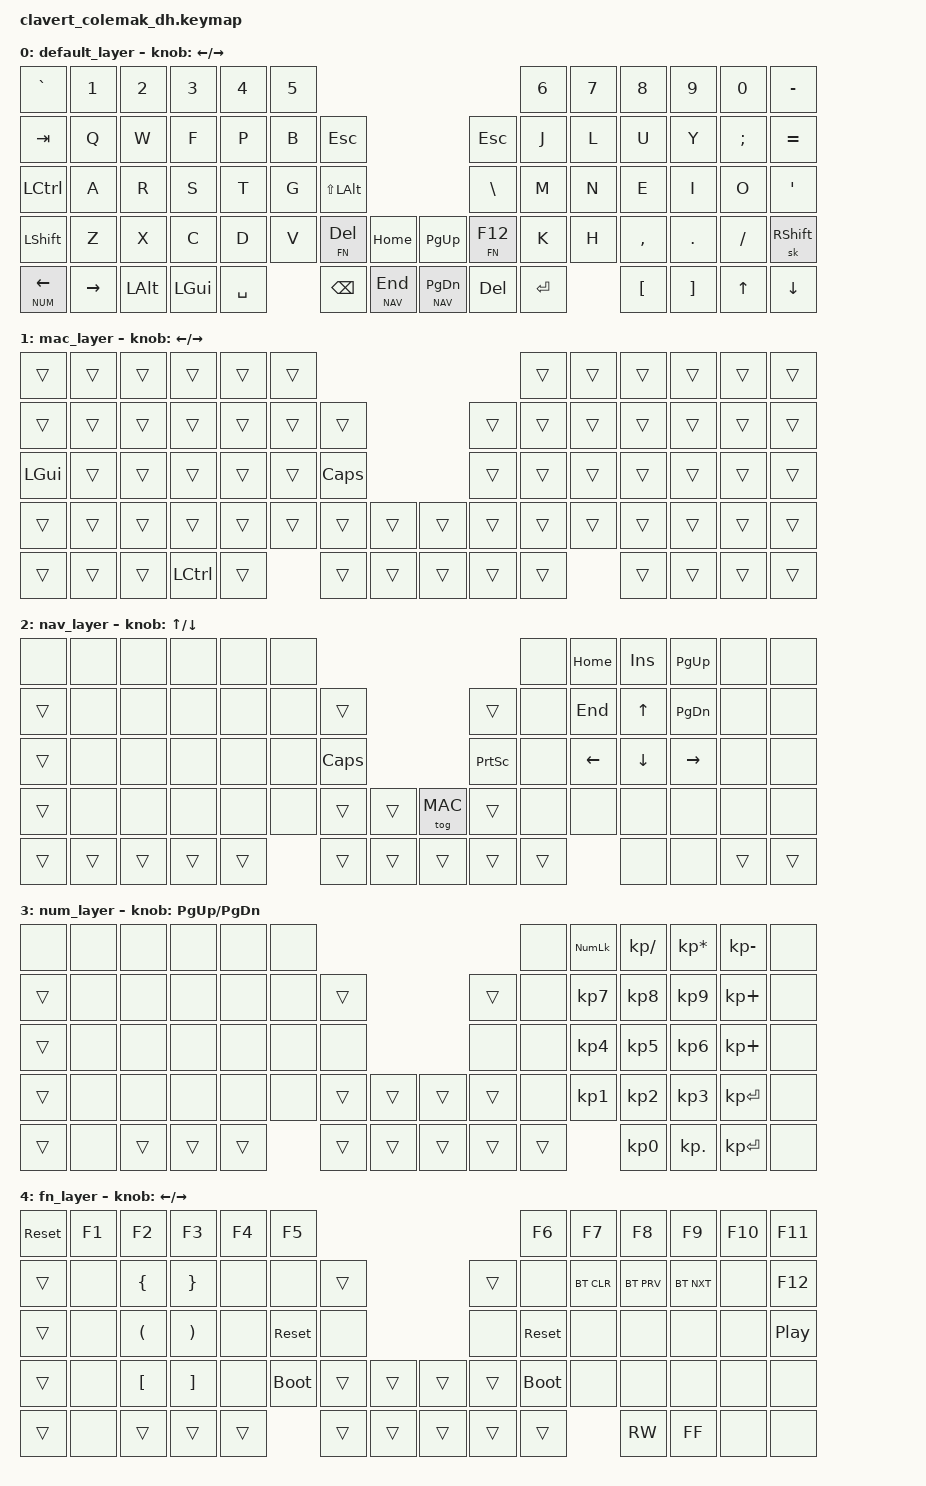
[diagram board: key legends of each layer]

  /*
  * Copyright (c) 2020 The ZMK Contributors
  *
  * SPDX-License-Identifier: MIT
  */

  #include <behaviors.dtsi>
  #include <dt-bindings/zmk/keys.h>
  #include <dt-bindings/zmk/bt.h>
  #include <dt-bindings/zmk/ext_power.h>
  #include "clavert_colemak_dh.dtsi"

  #define DEFAULT 0
  #define MAC 1
  #define NAV 2
  #define NUM 3
  #define FN 4

  &sk {
    release-after-ms = <2000>;
    quick-release;
    /delete-property/ ignore-modifiers;
  };

  / {
    keymap {
      compatible = "zmk,keymap";
        default_layer {
// -----------------------------------------------------------------------------------------------------------------------------------------
// | GRAVE      | 1     | 2    | 3    | 4   | 5   |                                                  | 6   | 7   | 8   | 9   | 0   | -     |
// | TAB        | Q     | W    | F    | P   | B   | ESC      |                            | ESC      | J   | L   | U   | Y   | ;   | =     |
// | LCTRL      | A     | R    | S    | T   | G   | LS(LALT) |                            | \        | M   | N   | E   | I   | O   | '     |
// | LSHFT      | Z     | X    | C    | D   | V   | LtFN DEL | HOME      |  | PG_UP       | LtFN F12 | K   | H   | ,   | .   | /   | RSHFT |
// | LtNUM LEFT | RIGHT | LALT | LGUI | SPACE     | BSPC     | LtNAV END |  | LtNAV PG_DN | DEL      | ENTER     | [   | ]   | UP  | DOWN  |
          bindings = <
    &kp GRAVE    &kp N1    &kp N2    &kp N3    &kp N4    &kp N5                                                      &kp N6   &kp N7 &kp N8    &kp N9   &kp N0   &kp MINUS
    &kp TAB      &kp Q     &kp W     &kp F     &kp P     &kp B  &kp ESC                                   &kp ESC    &kp J    &kp L  &kp U     &kp Y    &kp SEMI &kp EQUAL
    &kp LCTRL    &kp A     &kp R     &kp S     &kp T     &kp G  &kp LS(LALT)                              &kp BSLH   &kp M    &kp N  &kp E     &kp I    &kp O    &kp SQT
    &kp LSHFT    &kp Z     &kp X     &kp C     &kp D     &kp V  &lt FN DEL   &kp HOME       &kp PG_UP     &lt FN F12 &kp K    &kp H  &kp COMMA &kp DOT  &kp FSLH &sk RSHFT
    &lt NUM LEFT &kp RIGHT &kp LALT  &kp LGUI  &kp SPACE        &kp BSPC     &lt NAV END    &lt NAV PG_DN &kp DEL    &kp ENTER       &kp LBKT  &kp RBKT &kp UP   &kp DOWN
          >;

          sensor-bindings = <&inc_dec_kp LEFT RIGHT>;
        };

        mac_layer {
// ------------------------------------------------------------------------------------------------------------------------------------
// | trans | trans | trans | trans | trans | trans |                                  | trans | trans | trans | trans | trans | trans |
// | trans | trans | trans | trans | trans | trans | trans |                  | trans | trans | trans | trans | trans | trans | trans |
// | LGUI  | trans | trans | trans | trans | trans | CAPS  |                  | trans | trans | trans | trans | trans | trans | trans |
// | trans | trans | trans | trans | trans | trans | trans | trans |  | trans | trans | trans | trans | trans | trans | trans | trans |
// | trans | trans | trans | LCTRL | trans         | trans | trans |  | trans | trans | trans         | trans | trans | trans | trans |
          bindings = <
    &trans   &trans &trans &trans    &trans &trans                                  &trans &trans &trans &trans &trans &trans
    &trans   &trans &trans &trans    &trans &trans &trans                    &trans &trans &trans &trans &trans &trans &trans
    &kp LGUI &trans &trans &trans    &trans &trans &kp CAPS                  &trans &trans &trans &trans &trans &trans &trans
    &trans   &trans &trans &trans    &trans &trans &trans   &trans    &trans &trans &trans &trans &trans &trans &trans &trans
    &trans   &trans &trans &kp LCTRL &trans        &trans   &trans    &trans &trans &trans        &trans &trans &trans &trans
          >;

          sensor-bindings = <&inc_dec_kp LEFT RIGHT>;
        };

        nav_layer {
// ---------------------------------------------------------------------------------------------------------------------------------
// | none  | none  | none  | none  | none  | none |                                  | none  | HOME | INS  | PG_UP | none  | none  |
// | trans | none  | none  | none  | none  | none | trans |                  | trans | none  | END  | UP   | PG_DN | none  | none  |
// | trans | none  | none  | none  | none  | none | CAPS  |                  | PSCRN | none  | LEFT | DOWN | RIGHT | none  | none  |
// | trans | none  | none  | none  | none  | none | trans | trans |  | TgMAC | trans | none  | none | none | none  | none  | none  |
// | trans | trans | trans | trans | trans        | trans | trans |  | trans | trans | trans        | none | none  | trans | trans |
          bindings = <
    &none  &none  &none  &none  &none  &none                                        &none &kp HOME &kp INS  &kp PG_UP &none  &none 
    &trans &none  &none  &none  &none  &none  &trans                      &trans    &none &kp END  &kp UP   &kp PG_DN &none  &none 
    &trans &none  &none  &none  &none  &none  &kp CAPS                    &kp PSCRN &none &kp LEFT &kp DOWN &kp RIGHT &none  &none 
    &trans &none  &none  &none  &none  &none  &trans   &trans    &tog MAC &trans    &none &none    &none    &none     &none  &none 
    &trans &trans &trans &trans &trans        &trans   &trans    &trans   &trans    &trans         &none    &none     &trans &trans
          >;

          sensor-bindings = <&inc_dec_kp UP DOWN>;
        };

        num_layer {
// -------------------------------------------------------------------------------------------------------------------------------
// | none  | none | none  | none  | none  | none |                                  | none  | NUMLOCK | /   | *   | -     | none |
// | trans | none | none  | none  | none  | none | trans |                  | trans | none  | 7       | 8   | 9   | +     | none |
// | trans | none | none  | none  | none  | none | none  |                  | none  | none  | 4       | 5   | 6   | +     | none |
// | trans | none | none  | none  | none  | none | trans | trans |  | trans | trans | none  | 1       | 2   | 3   | ENTER | none |
// | trans | none | trans | trans | trans        | trans | trans |  | trans | trans | trans           | 0   | .   | ENTER | none |
          bindings = <
    &none  &none &none  &none  &none  &none                                    &none  &kp KP_NUM &kp KP_SLASH &kp KP_ASTERISK &kp KP_MINUS &none
    &trans &none &none  &none  &none  &none  &trans                     &trans &none  &kp KP_N7  &kp KP_N8    &kp KP_N9       &kp KP_PLUS  &none 
    &trans &none &none  &none  &none  &none  &none                      &none  &none  &kp KP_N4  &kp KP_N5    &kp KP_N6       &kp KP_PLUS  &none 
    &trans &none &none  &none  &none  &none  &trans   &trans    &trans  &trans &none  &kp KP_N1  &kp KP_N2    &kp KP_N3       &kp KP_ENTER &none 
    &trans &none &trans &trans &trans        &trans   &trans    &trans  &trans &trans            &kp KP_N0    &kp KP_DOT      &kp KP_ENTER &none
          >;

          sensor-bindings = <&inc_dec_kp PG_UP PG_DN>;
        };

        fn_layer {
// --------------------------------------------------------------------------------------------------------------------------------------------------
// | none  | F1   | F2    | F3    | F4    | F5         |                                  | F6         | F7     | F8     | F9      | F10  | F11  |
// | trans | none | {     | }     | none  | none       | trans |                  | trans | none       | BT_CLR | BT_PRV | BT_NXT  | none | F12  |
// | trans | none | (     | )     | none  | reset      | none  |                  | none  | reset      | none   | none   | none    | none | PLAY |
// | trans | none | [     | ]     | none  | bootloader | trans | trans |  | trans | trans | bootloader | none   | none   | none    | none | none |
// | trans | none | trans | trans | trans              | trans | trans |  | trans | trans | trans               | REWIND | FASTFWR | none | none |
          bindings = <
    &sys_reset &kp F1 &kp F2      &kp F3      &kp F4 &kp F5                                        &kp F6      &kp F7      &kp F8     &kp F9     &kp F10 &kp F11
    &trans &none  &kp LBRC    &kp RBRC    &none  &none       &trans                     &trans &none       &bt BT_CLR  &bt BT_PRV &bt BT_NXT &none   &kp F12
    &trans &none  &kp LPAR    &kp RPAR    &none  &sys_reset  &none                      &none  &sys_reset  &none       &none      &none      &none   &kp C_PP
    &trans &none  &kp LBKT    &kp RBKT    &none  &bootloader &trans   &trans    &trans  &trans &bootloader &none       &none      &none      &none   &none 
    &trans &none  &trans      &trans      &trans             &trans   &trans    &trans  &trans &trans                  &kp C_RW   &kp C_FF   &none   &none
          >;

          sensor-bindings = <&inc_dec_kp LEFT RIGHT>;
        };
    };
  };
  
